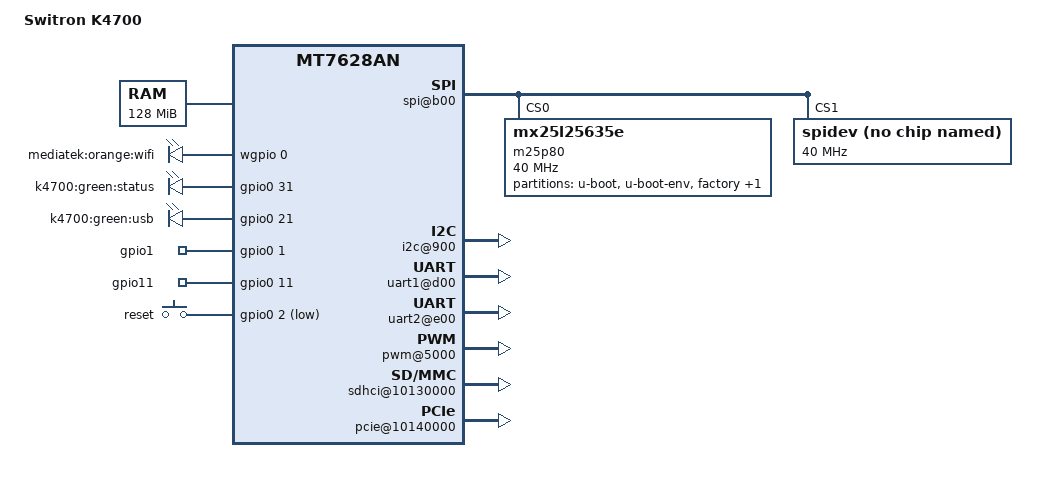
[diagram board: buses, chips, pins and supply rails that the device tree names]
/dts-v1/;

/include/ "mt7628an.dtsi"

/ {
	compatible = "mediatek,k4700", "mediatek,mt7628an-soc";
	model = "Switron K4700";

	chosen {
		bootargs = "console=ttyS2,57600";
	};

	memory@0 {
		device_type = "memory";
		reg = <0x0 0x8000000>;
	};

	pinctrl {
		state_default: pinctrl0 {
			gpio {
				ralink,group = "gpio";
				ralink,function = "gpio";
			};
			perst {
				ralink,group = "perst";
				ralink,function = "gpio";
			};
			refclk {
				ralink,group = "refclk";
				ralink,function = "gpio";
			};
			i2s {
				ralink,group = "i2s";
				ralink,function = "gpio";
			};
			spis {
				ralink,group = "spis";
				ralink,function = "gpio";
			};
			wled_kn {
				ralink,group = "wled_kn";
				ralink,function = "gpio";
			};
			wled_an {
				ralink,group = "wled_an";
				ralink,function = "wled_an";
			};
			wdt {
				ralink,group = "wdt";
				ralink,function = "gpio";
			};
		};
	};

	palmbus@10000000 {
		spi@b00 {
			status = "okay";

			pinctrl-names = "default";
			pinctrl-0 = <&spi_pins>, <&spi_cs1_pins>;

			m25p80@0 {
				#address-cells = <1>;
				#size-cells = <1>;
				compatible = "mx25l25635e";
				reg = <0 0>;
				linux,modalias = "m25p80", "mx25l25635e";
				spi-max-frequency = <40000000>;
				m25p,chunked-io = <31>;

				partition@0 {
					label = "u-boot";
					reg = <0x0 0x30000>;
					read-only;
				};

				partition@30000 {
					label = "u-boot-env";
					reg = <0x30000 0x10000>;
				};

				factory: partition@40000 {
					label = "factory";
					reg = <0x40000 0x10000>;
					read-only;
				};

				partition@50000 {
					label = "firmware";
					reg = <0x50000 0x1fb0000>;
				};
			};

			spidev@1 {
				#address-cells = <1>;
				#size-cells = <1>;
				compatible = "spidev";
				reg = <1 0>;
				spi-max-frequency = <40000000>;
			};
		};

		i2c@900 {
			status = "okay";
		};

		uart1@d00 {
			status = "okay";
		};

		uart2@e00 {
			status = "okay";
		};

		pwm@5000 {
			status = "okay";
		};
	};

	ethernet@10100000 {
		mtd-mac-address = <&factory 0x28>;
	};

	sdhci@10130000 {
		status = "okay";
		mediatek,cd-high;
//		mediatek,cd-poll;
	};

	bootstrap {
		compatible = "mediatek,k4700";

		status = "okay";
	};

	gpio-leds {
		compatible = "gpio-leds";
		wifi {
			label = "mediatek:orange:wifi";
			gpios = <&wgpio 0 0>;
			default-state = "on";
		};
		status {
			label = "k4700:green:status";
			gpios = <&gpio0 31 0>;
			default-state = "on";
		};
		usb {
			label = "k4700:green:usb";
			gpios = <&gpio0 21 0>;
			default-state = "on";
		};
	};


	gpio-export {
		compatible = "gpio-export";
		#size-cells = <0>;
		gpio1 {
			gpio-export,name = "gpio1";
			#gpio-export,direction_may_change = <1>;
			gpio-export,output = <1>;
			gpios = <&gpio0 1 0>;
		};
		gpio11 {
			gpio-export,name = "gpio11";
			#gpio-export,direction_may_change = <1>;
			gpio-export,output = <1>;
			gpios = <&gpio0 11 0>;
		};
	};


	gpio-keys-polled {
		compatible = "gpio-keys-polled";
		#address-cells = <1>;
		#size-cells = <0>;
		poll-interval = <100>;
		reset {
			label = "reset";
			gpios = <&gpio0 2 1>;
			linux,code = <0x198>;
		};
	};


	wgpio: gpio-wifi {
		#address-cells = <1>;
		#size-cells = <0>;

		compatible = "mediatek,gpio-wifi";
		gpio-controller;
		#gpio-cells = <2>;
	};

	wmac@10180000 {
		ralink,mtd-eeprom = <&factory 0>;
	};

	pcie@10140000 {
		status = "okay";
		pcie-bridge {
			mt76@0,0 {
				reg = <0x0000 0 0 0 0>;
				device_type = "pci";
				mediatek,mtd-eeprom = <&factory 0x8000>;
				mediatek,2ghz = <0>;
			};
		};
	};


};
